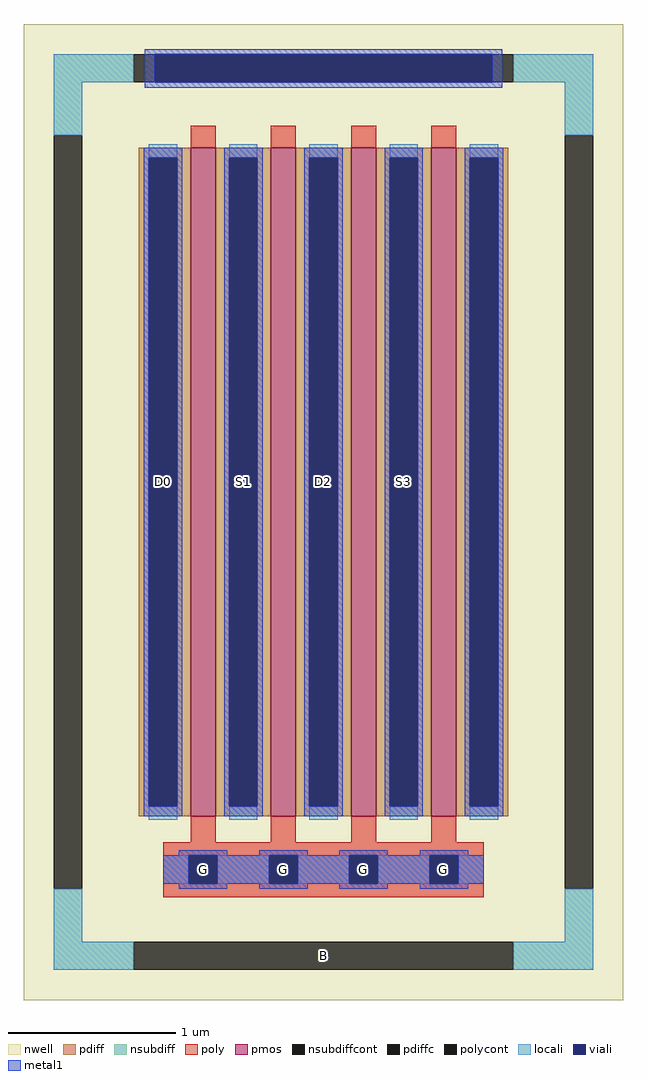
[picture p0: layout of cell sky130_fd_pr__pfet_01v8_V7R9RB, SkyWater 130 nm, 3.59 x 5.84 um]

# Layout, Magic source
magic
tech sky130A
magscale 1 2
<< nwell >>
rect -359 -584 359 584
<< pmos >>
rect -159 -364 -129 436
rect -63 -364 -33 436
rect 33 -364 63 436
rect 129 -364 159 436
<< pdiff >>
rect -221 424 -159 436
rect -221 -352 -209 424
rect -175 -352 -159 424
rect -221 -364 -159 -352
rect -129 424 -63 436
rect -129 -352 -113 424
rect -79 -352 -63 424
rect -129 -364 -63 -352
rect -33 424 33 436
rect -33 -352 -17 424
rect 17 -352 33 424
rect -33 -364 33 -352
rect 63 424 129 436
rect 63 -352 79 424
rect 113 -352 129 424
rect 63 -364 129 -352
rect 159 424 221 436
rect 159 -352 175 424
rect 209 -352 221 424
rect 159 -364 221 -352
<< pdiffc >>
rect -209 -352 -175 424
rect -113 -352 -79 424
rect -17 -352 17 424
rect 79 -352 113 424
rect 175 -352 209 424
<< nsubdiff >>
rect -323 514 -227 548
rect 227 514 323 548
rect -323 451 -289 514
rect 289 451 323 514
rect -323 -514 -289 -451
rect 289 -514 323 -451
rect -323 -548 -227 -514
rect 227 -548 323 -514
<< nsubdiffcont >>
rect -227 514 227 548
rect -323 -451 -289 451
rect 289 -451 323 451
rect -227 -548 227 -514
<< poly >>
rect -159 436 -129 462
rect -63 436 -33 462
rect 33 436 63 462
rect 129 436 159 462
rect -159 -395 -129 -364
rect -63 -395 -33 -364
rect 33 -395 63 -364
rect 129 -395 159 -364
rect -192 -411 192 -395
rect -192 -445 -161 -411
rect -127 -445 -65 -411
rect -31 -445 31 -411
rect 65 -445 127 -411
rect 161 -445 192 -411
rect -192 -461 192 -445
<< polycont >>
rect -161 -445 -127 -411
rect -65 -445 -31 -411
rect 31 -445 65 -411
rect 127 -445 161 -411
<< locali >>
rect -323 514 -227 548
rect 227 514 323 548
rect -323 451 -289 514
rect 289 451 323 514
rect -209 424 -175 440
rect -209 -368 -175 -352
rect -113 424 -79 440
rect -113 -368 -79 -352
rect -17 424 17 440
rect -17 -368 17 -352
rect 79 424 113 440
rect 79 -368 113 -352
rect 175 424 209 440
rect 175 -368 209 -352
rect -192 -445 -161 -411
rect -127 -445 -65 -411
rect -31 -445 31 -411
rect 65 -445 127 -411
rect 161 -445 192 -411
rect -323 -514 -289 -451
rect 289 -514 323 -451
rect -323 -548 -227 -514
rect 227 -548 323 -514
<< viali >>
rect -202 514 202 548
rect -209 -352 -175 424
rect -113 -352 -79 424
rect -17 -352 17 424
rect 79 -352 113 424
rect 175 -352 209 424
rect -161 -445 -127 -411
rect -65 -445 -31 -411
rect 31 -445 65 -411
rect 127 -445 161 -411
<< metal1 >>
rect -214 548 214 554
rect -214 514 -202 548
rect 202 514 214 548
rect -214 508 214 514
rect -215 424 -169 436
rect -215 -352 -209 424
rect -175 -352 -169 424
rect -215 -364 -169 -352
rect -119 424 -73 436
rect -119 -352 -113 424
rect -79 -352 -73 424
rect -119 -364 -73 -352
rect -23 424 23 436
rect -23 -352 -17 424
rect 17 -352 23 424
rect -23 -364 23 -352
rect 73 424 119 436
rect 73 -352 79 424
rect 113 -352 119 424
rect 73 -364 119 -352
rect 169 424 215 436
rect 169 -352 175 424
rect 209 -352 215 424
rect 169 -364 215 -352
rect -173 -411 -115 -405
rect -77 -411 -19 -405
rect 19 -411 77 -405
rect 115 -411 173 -405
rect -192 -445 -161 -411
rect -127 -445 -65 -411
rect -31 -445 31 -411
rect 65 -445 127 -411
rect 161 -445 192 -411
rect -173 -451 -115 -445
rect -77 -451 -19 -445
rect 19 -451 77 -445
rect 115 -451 173 -445
<< labels >>
rlabel nsubdiffcont 0 -531 0 -531 0 B
port 1 nsew
rlabel pdiffc -192 36 -192 36 0 D0
port 2 nsew
rlabel polycont -144 -428 -144 -428 0 G
port 3 nsew
rlabel pdiffc -96 36 -96 36 0 S1
port 4 nsew
rlabel polycont -48 -428 -48 -428 0 G
port 3 nsew
rlabel pdiffc 0 36 0 36 0 D2
port 5 nsew
rlabel polycont 48 -428 48 -428 0 G
port 3 nsew
rlabel pdiffc 96 36 96 36 0 S3
port 6 nsew
rlabel polycont 144 -428 144 -428 0 G
port 3 nsew
<< properties >>
string FIXED_BBOX -306 -531 306 531
string gencell sky130_fd_pr__pfet_01v8
string library sky130
string parameters w 4.0 l 0.15 m 1 nf 4 diffcov 100 polycov 100 guard 1 glc 1 grc 1 gtc 1 gbc 1 tbcov 100 rlcov 100 topc 0 botc 1 poverlap 0 doverlap 1 lmin 0.15 wmin 0.42 class mosfet compatible {sky130_fd_pr__pfet_01v8  sky130_fd_pr__pfet_01v8_lvt sky130_fd_pr__pfet_01v8_hvt  sky130_fd_pr__pfet_g5v0d10v5} full_metal 1 conn_gates 1 viasrc 100 viadrn 100 viagate 100 viagb 0 viagr 0 viagl 0 viagt 70 doports 1
<< end >>
